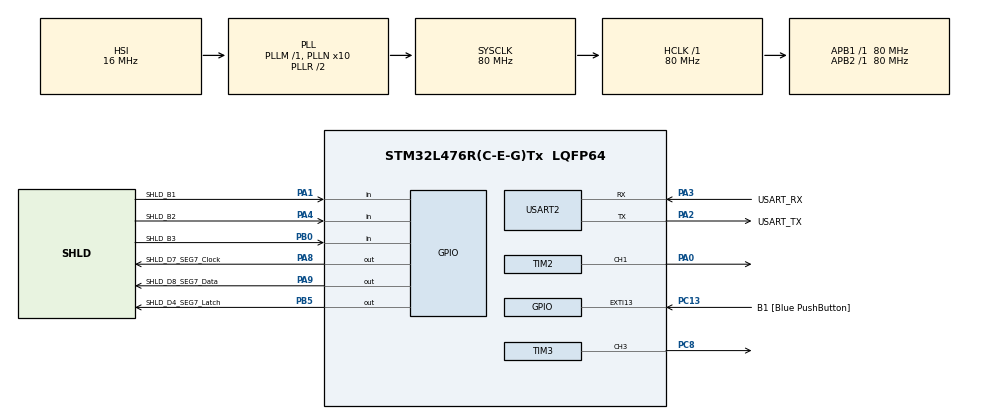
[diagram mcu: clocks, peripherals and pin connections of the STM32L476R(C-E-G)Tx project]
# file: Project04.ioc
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FREERTOS.Tasks01=defaultTask,24,128,StartDefaultTask,Default,NULL,Dynamic,NULL,NULL;lead_servo,40,128,lead_servo_task,As external,&servo01,Dynamic,NULL,NULL;user_servo,40,128,user_servo_task,As external,&servo02,Dynamic,NULL,NULL;gamemaster,40,128,gamemaster_task,As external,&gamemaster,Dynamic,NULL,NULL
FREERTOS.configTOTAL_HEAP_SIZE=10000
FREERTOS.configUSE_NEWLIB_REENTRANT=1
Mcu.Family=STM32L4
Mcu.Name=STM32L476R(C-E-G)Tx
Mcu.Package=LQFP64
NVIC.PriorityGroup=NVIC_PRIORITYGROUP_4
NVIC.TIM6_DAC_IRQn=true\:15\:0\:false\:false\:true\:false\:false\:true\:true
NVIC.TimeBase=TIM6_DAC_IRQn
NVIC.TimeBaseIP=TIM6
PA0.Signal=S_TIM2_CH1
PA1.GPIO_Label=SHLD_B1
PA1.GPIO_PuPd=GPIO_PULLUP
PA1.Signal=GPIO_Input
PA13\ (JTMS-SWDIO).GPIO_Label=TMS
PA13\ (JTMS-SWDIO).Mode=Serial_Wire
PA13\ (JTMS-SWDIO).Signal=SYS_JTMS-SWDIO
PA14\ (JTCK-SWCLK).GPIO_Label=TCK
PA14\ (JTCK-SWCLK).Mode=Serial_Wire
PA14\ (JTCK-SWCLK).Signal=SYS_JTCK-SWCLK
PA2.GPIO_Label=USART_TX
PA2.GPIO_Mode=GPIO_MODE_AF_PP
PA2.GPIO_PuPd=GPIO_NOPULL
PA2.GPIO_Speed=GPIO_SPEED_FREQ_VERY_HIGH
PA2.Mode=Asynchronous
PA2.Signal=USART2_TX
PA3.GPIO_Label=USART_RX
PA3.GPIO_Mode=GPIO_MODE_AF_PP
PA3.GPIO_PuPd=GPIO_NOPULL
PA3.GPIO_Speed=GPIO_SPEED_FREQ_VERY_HIGH
PA3.Mode=Asynchronous
PA3.Signal=USART2_RX
PA4.GPIO_Label=SHLD_B2
PA4.GPIO_PuPd=GPIO_PULLUP
PA4.Signal=GPIO_Input
PA8.GPIO_Label=SHLD_D7_SEG7_Clock
PA8.PinState=GPIO_PIN_SET
PA8.Signal=GPIO_Output
PA9.GPIO_Label=SHLD_D8_SEG7_Data
PA9.GPIO_Speed=GPIO_SPEED_FREQ_MEDIUM
PA9.PinState=GPIO_PIN_SET
PA9.Signal=GPIO_Output
PB0.GPIO_Label=SHLD_B3
PB0.GPIO_PuPd=GPIO_PULLUP
PB0.Signal=GPIO_Input
PB3\ (JTDO-TRACESWO).GPIO_Label=SWO
PB3\ (JTDO-TRACESWO).Signal=SYS_JTDO-SWO
PB5.GPIO_Label=SHLD_D4_SEG7_Latch
PB5.GPIO_Speed=GPIO_SPEED_FREQ_HIGH
PB5.PinState=GPIO_PIN_SET
PB5.Signal=GPIO_Output
PC13.GPIO_Label=B1 [Blue PushButton]
PC13.GPIO_ModeDefaultEXTI=GPIO_MODE_IT_FALLING
PC13.GPIO_PuPd=GPIO_NOPULL
PC13.Signal=GPXTI13
PC14-OSC32_IN\ (PC14).Mode=LSE-External-Oscillator
PC14-OSC32_IN\ (PC14).Signal=RCC_OSC32_IN
PC15-OSC32_OUT\ (PC15).Mode=LSE-External-Oscillator
PC15-OSC32_OUT\ (PC15).Signal=RCC_OSC32_OUT
PC8.Signal=S_TIM3_CH3
PH0-OSC_IN\ (PH0).Signal=RCC_OSC_IN
PH1-OSC_OUT\ (PH1).Signal=RCC_OSC_OUT
ProjectManager.HeapSize=0x200
ProjectManager.StackSize=0x400
ProjectManager.TargetToolchain=STM32CubeIDE
RCC.ADCFreq_Value=64000000
RCC.AHBFreq_Value=80000000
RCC.APB1Freq_Value=80000000
RCC.APB1TimFreq_Value=80000000
RCC.APB2Freq_Value=80000000
RCC.APB2TimFreq_Value=80000000
RCC.CortexFreq_Value=80000000
RCC.HCLKFreq_Value=80000000
RCC.HSE_VALUE=8000000
RCC.HSI_VALUE=16000000
RCC.MSI_VALUE=4000000
RCC.PLLN=10
RCC.PLLSAI1Q=RCC_PLLQ_DIV4
RCC.PLLSourceVirtual=RCC_PLLSOURCE_HSI
RCC.PREFETCH_ENABLE=1
RCC.SYSCLKFreq_VALUE=80000000
RCC.SYSCLKSource=RCC_SYSCLKSOURCE_PLLCLK
RCC.USBFreq_Value=32000000
RCC.VCOOutputFreq_Value=160000000
SH.S_TIM2_CH1.0=TIM2_CH1,PWM Generation1 CH1
SH.S_TIM3_CH3.0=TIM3_CH3,PWM Generation3 CH3
TIM2.Channel-PWM\ Generation1\ CH1=TIM_CHANNEL_1
TIM2.Period=19999
TIM2.Prescaler=79
TIM3.Channel-PWM\ Generation3\ CH3=TIM_CHANNEL_3
TIM3.Period=19999
TIM3.Prescaler=79
TIM5.Prescaler=79
USART2.VirtualMode-Asynchronous=VM_ASYNC
VP_FREERTOS_VS_CMSIS_V2.Mode=CMSIS_V2
VP_RNG_VS_RNG.Mode=RNG_Activate
VP_SYS_VS_tim6.Mode=TIM6
VP_TIM2_VS_ClockSourceINT.Mode=Internal
VP_TIM3_VS_ClockSourceINT.Mode=Internal
VP_TIM5_VS_ClockSourceINT.Mode=Internal
board=NUCLEO-L476RG

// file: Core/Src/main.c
/* USER CODE BEGIN Header */
/**
  ******************************************************************************
  * @file           : main.c
  * @brief          : Main program body
  ******************************************************************************
  * @attention
  *
  * Copyright (c) 2022 STMicroelectronics.
  * All rights reserved.
  *
  * This software is licensed under terms that can be found in the LICENSE file
  * in the root directory of this software component.
  * If no LICENSE file comes with this software, it is provided AS-IS.
  *
  ******************************************************************************
  */
/* USER CODE END Header */
#include "main.h"
#include "cmsis_os.h"

/* USER CODE BEGIN Includes */
#include "servo.h"
#include "gamemaster.h"
/* USER CODE END Includes */

RNG_HandleTypeDef hrng;

TIM_HandleTypeDef htim2;
TIM_HandleTypeDef htim3;
TIM_HandleTypeDef htim5;

UART_HandleTypeDef huart2;

/* Definitions for defaultTask */
osThreadId_t defaultTaskHandle;
const osThreadAttr_t defaultTask_attributes = {
  .name = "defaultTask",
  .stack_size = 128 * 4,
  .priority = (osPriority_t) osPriorityNormal,
};
/* Definitions for lead_servo */
osThreadId_t lead_servoHandle;
const osThreadAttr_t lead_servo_attributes = {
  .name = "lead_servo",
  .stack_size = 128 * 4,
  .priority = (osPriority_t) osPriorityHigh,
};
/* Definitions for user_servo */
osThreadId_t user_servoHandle;
const osThreadAttr_t user_servo_attributes = {
  .name = "user_servo",
  .stack_size = 128 * 4,
  .priority = (osPriority_t) osPriorityHigh,
};
/* Definitions for gamemaster */
osThreadId_t gamemasterHandle;
const osThreadAttr_t gamemaster_attributes = {
  .name = "gamemaster",
  .stack_size = 128 * 4,
  .priority = (osPriority_t) osPriorityHigh,
};
/* USER CODE BEGIN PV */

static servo_profile_t servo01 = {
		.last_position = 0,
		.position = 0,
		.move_wait = 0,
		.next_wait = 0,
		.start_time = 0,
		.status = in_position,
		.rounds = 0
};
static servo_profile_t servo02 = {
		.last_position = 0,
		.position = 0,
		.move_wait = 0,
		.next_wait = 0,
		.start_time = 0,
		.status = in_position,
		.rounds = 0
};

static gamemaster_t gamemaster = {
		.servo01 = &servo01,
		.servo02 = &servo02,
		.total_time = 0,
		.start_time = 0,
		.end_time = 0,
		.D4_SEG7_Latch_Port = SHLD_D4_SEG7_Latch_GPIO_Port,
		.D4_SEG7_Latch_Pin = SHLD_D4_SEG7_Latch_Pin,
		.D7_SEG7_Clock_Port = SHLD_D7_SEG7_Clock_GPIO_Port,
		.D7_SEG7_Clock_Pin = SHLD_D7_SEG7_Clock_Pin,
		.D8_SEG7_Data_Port = SHLD_D8_SEG7_Data_GPIO_Port,
		.D8_SEG7_Data_Pin = SHLD_D8_SEG7_Data_Pin
};

/* USER CODE END PV */

void SystemClock_Config(void);
static void MX_GPIO_Init(void);
static void MX_USART2_UART_Init(void);
static void MX_TIM2_Init(void);
static void MX_TIM3_Init(void);
static void MX_TIM5_Init(void);
static void MX_RNG_Init(void);
void StartDefaultTask(void *argument);
extern void lead_servo_task(void *argument);
extern void user_servo_task(void *argument);
extern void gamemaster_task(void *argument);

int main(void)
{

  /* MCU Configuration--------------------------------------------------------*/

  /* Reset of all peripherals, Initializes the Flash interface and the Systick. */
  HAL_Init();

  /* Configure the system clock */
  SystemClock_Config();

  /* Initialize all configured peripherals */
  MX_GPIO_Init();
  MX_USART2_UART_Init();
  MX_TIM2_Init();
  MX_TIM3_Init();
  MX_TIM5_Init();
  MX_RNG_Init();

  /* Init scheduler */
  osKernelInitialize();

  /* Create the thread(s) */
  /* creation of defaultTask */
  defaultTaskHandle = osThreadNew(StartDefaultTask, NULL, &defaultTask_attributes);

  /* creation of lead_servo */
  lead_servoHandle = osThreadNew(lead_servo_task, (void*) &servo01, &lead_servo_attributes);

  /* creation of user_servo */
  user_servoHandle = osThreadNew(user_servo_task, (void*) &servo02, &user_servo_attributes);

  /* creation of gamemaster */
  gamemasterHandle = osThreadNew(gamemaster_task, (void*) &gamemaster, &gamemaster_attributes);

  /* USER CODE BEGIN RTOS_EVENTS */
  // USED TO FIX WARNINGS LOL
  position0=position0;
  position1=position1;
  position2=position2;
  position3=position3;
  position4=position4;
  position5=position5;
  /* add events, ... */
  calibrate_servo();
  // Clear the seven segment display
  clear_seg7(&gamemaster);
  /* USER CODE END RTOS_EVENTS */

  /* Start scheduler */
  osKernelStart();

  /* We should never get here as control is now taken by the scheduler */
  /* Infinite loop */
  while (1)
  {

  }
}

void SystemClock_Config(void)
{
  RCC_OscInitTypeDef RCC_OscInitStruct = {0};
  RCC_ClkInitTypeDef RCC_ClkInitStruct = {0};

  /** Configure the main internal regulator output voltage
  */
  if (HAL_PWREx_ControlVoltageScaling(PWR_REGULATOR_VOLTAGE_SCALE1) != HAL_OK)
  {
    Error_Handler();
  }

  /** Initializes the RCC Oscillators according to the specified parameters
  * in the RCC_OscInitTypeDef structure.
  */
  RCC_OscInitStruct.OscillatorType = RCC_OSCILLATORTYPE_HSI;
  RCC_OscInitStruct.HSIState = RCC_HSI_ON;
  RCC_OscInitStruct.HSICalibrationValue = RCC_HSICALIBRATION_DEFAULT;
  RCC_OscInitStruct.PLL.PLLState = RCC_PLL_ON;
  RCC_OscInitStruct.PLL.PLLSource = RCC_PLLSOURCE_HSI;
  RCC_OscInitStruct.PLL.PLLM = 1;
  RCC_OscInitStruct.PLL.PLLN = 10;
  RCC_OscInitStruct.PLL.PLLP = RCC_PLLP_DIV7;
  RCC_OscInitStruct.PLL.PLLQ = RCC_PLLQ_DIV2;
  RCC_OscInitStruct.PLL.PLLR = RCC_PLLR_DIV2;
  if (HAL_RCC_OscConfig(&RCC_OscInitStruct) != HAL_OK)
  {
    Error_Handler();
  }

  /** Initializes the CPU, AHB and APB buses clocks
  */
  RCC_ClkInitStruct.ClockType = RCC_CLOCKTYPE_HCLK|RCC_CLOCKTYPE_SYSCLK
                              |RCC_CLOCKTYPE_PCLK1|RCC_CLOCKTYPE_PCLK2;
  RCC_ClkInitStruct.SYSCLKSource = RCC_SYSCLKSOURCE_PLLCLK;
  RCC_ClkInitStruct.AHBCLKDivider = RCC_SYSCLK_DIV1;
  RCC_ClkInitStruct.APB1CLKDivider = RCC_HCLK_DIV1;
  RCC_ClkInitStruct.APB2CLKDivider = RCC_HCLK_DIV1;

  if (HAL_RCC_ClockConfig(&RCC_ClkInitStruct, FLASH_LATENCY_4) != HAL_OK)
  {
    Error_Handler();
  }
}

static void MX_RNG_Init(void)
{

  hrng.Instance = RNG;
  if (HAL_RNG_Init(&hrng) != HAL_OK)
  {
    Error_Handler();
  }

}

static void MX_TIM2_Init(void)
{

  TIM_ClockConfigTypeDef sClockSourceConfig = {0};
  TIM_MasterConfigTypeDef sMasterConfig = {0};
  TIM_OC_InitTypeDef sConfigOC = {0};

  htim2.Instance = TIM2;
  htim2.Init.Prescaler = 79;
  htim2.Init.CounterMode = TIM_COUNTERMODE_UP;
  htim2.Init.Period = 19999;
  htim2.Init.ClockDivision = TIM_CLOCKDIVISION_DIV1;
  htim2.Init.AutoReloadPreload = TIM_AUTORELOAD_PRELOAD_DISABLE;
  if (HAL_TIM_Base_Init(&htim2) != HAL_OK)
  {
    Error_Handler();
  }
  sClockSourceConfig.ClockSource = TIM_CLOCKSOURCE_INTERNAL;
  if (HAL_TIM_ConfigClockSource(&htim2, &sClockSourceConfig) != HAL_OK)
  {
    Error_Handler();
  }
  if (HAL_TIM_PWM_Init(&htim2) != HAL_OK)
  {
    Error_Handler();
  }
  sMasterConfig.MasterOutputTrigger = TIM_TRGO_RESET;
  sMasterConfig.MasterSlaveMode = TIM_MASTERSLAVEMODE_DISABLE;
  if (HAL_TIMEx_MasterConfigSynchronization(&htim2, &sMasterConfig) != HAL_OK)
  {
    Error_Handler();
  }
  sConfigOC.OCMode = TIM_OCMODE_PWM1;
  sConfigOC.Pulse = 0;
  sConfigOC.OCPolarity = TIM_OCPOLARITY_HIGH;
  sConfigOC.OCFastMode = TIM_OCFAST_DISABLE;
  if (HAL_TIM_PWM_ConfigChannel(&htim2, &sConfigOC, TIM_CHANNEL_1) != HAL_OK)
  {
    Error_Handler();
  }
  /* USER CODE BEGIN TIM2_Init 2 */
  HAL_TIM_Base_Start(&htim2);
  HAL_TIM_IC_Start(&htim2, TIM_CHANNEL_1);
  /* USER CODE END TIM2_Init 2 */
  HAL_TIM_MspPostInit(&htim2);

}

static void MX_TIM3_Init(void)
{

  TIM_ClockConfigTypeDef sClockSourceConfig = {0};
  TIM_MasterConfigTypeDef sMasterConfig = {0};
  TIM_OC_InitTypeDef sConfigOC = {0};

  htim3.Instance = TIM3;
  htim3.Init.Prescaler = 79;
  htim3.Init.CounterMode = TIM_COUNTERMODE_UP;
  htim3.Init.Period = 19999;
  htim3.Init.ClockDivision = TIM_CLOCKDIVISION_DIV1;
  htim3.Init.AutoReloadPreload = TIM_AUTORELOAD_PRELOAD_DISABLE;
  if (HAL_TIM_Base_Init(&htim3) != HAL_OK)
  {
    Error_Handler();
  }
  sClockSourceConfig.ClockSource = TIM_CLOCKSOURCE_INTERNAL;
  if (HAL_TIM_ConfigClockSource(&htim3, &sClockSourceConfig) != HAL_OK)
  {
    Error_Handler();
  }
  if (HAL_TIM_PWM_Init(&htim3) != HAL_OK)
  {
    Error_Handler();
  }
  sMasterConfig.MasterOutputTrigger = TIM_TRGO_RESET;
  sMasterConfig.MasterSlaveMode = TIM_MASTERSLAVEMODE_DISABLE;
  if (HAL_TIMEx_MasterConfigSynchronization(&htim3, &sMasterConfig) != HAL_OK)
  {
    Error_Handler();
  }
  sConfigOC.OCMode = TIM_OCMODE_PWM1;
  sConfigOC.Pulse = 0;
  sConfigOC.OCPolarity = TIM_OCPOLARITY_HIGH;
  sConfigOC.OCFastMode = TIM_OCFAST_DISABLE;
  if (HAL_TIM_PWM_ConfigChannel(&htim3, &sConfigOC, TIM_CHANNEL_3) != HAL_OK)
  {
    Error_Handler();
  }
  /* USER CODE BEGIN TIM3_Init 2 */
  HAL_TIM_Base_Start(&htim3);
  HAL_TIM_IC_Start(&htim3, TIM_CHANNEL_3);
  /* USER CODE END TIM3_Init 2 */
  HAL_TIM_MspPostInit(&htim3);

}

static void MX_TIM5_Init(void)
{

  TIM_ClockConfigTypeDef sClockSourceConfig = {0};
  TIM_MasterConfigTypeDef sMasterConfig = {0};

  htim5.Instance = TIM5;
  htim5.Init.Prescaler = 79;
  htim5.Init.CounterMode = TIM_COUNTERMODE_UP;
  htim5.Init.Period = 4294967295;
  htim5.Init.ClockDivision = TIM_CLOCKDIVISION_DIV1;
  htim5.Init.AutoReloadPreload = TIM_AUTORELOAD_PRELOAD_DISABLE;
  if (HAL_TIM_Base_Init(&htim5) != HAL_OK)
  {
    Error_Handler();
  }
  sClockSourceConfig.ClockSource = TIM_CLOCKSOURCE_INTERNAL;
  if (HAL_TIM_ConfigClockSource(&htim5, &sClockSourceConfig) != HAL_OK)
  {
    Error_Handler();
  }
  sMasterConfig.MasterOutputTrigger = TIM_TRGO_RESET;
  sMasterConfig.MasterSlaveMode = TIM_MASTERSLAVEMODE_DISABLE;
  if (HAL_TIMEx_MasterConfigSynchronization(&htim5, &sMasterConfig) != HAL_OK)
  {
    Error_Handler();
  }
  /* USER CODE BEGIN TIM5_Init 2 */
  HAL_TIM_Base_Start(&htim5);
  /* USER CODE END TIM5_Init 2 */

}

static void MX_USART2_UART_Init(void)
{

  huart2.Instance = USART2;
  huart2.Init.BaudRate = 115200;
  huart2.Init.WordLength = UART_WORDLENGTH_8B;
  huart2.Init.StopBits = UART_STOPBITS_1;
  huart2.Init.Parity = UART_PARITY_NONE;
  huart2.Init.Mode = UART_MODE_TX_RX;
  huart2.Init.HwFlowCtl = UART_HWCONTROL_NONE;
  huart2.Init.OverSampling = UART_OVERSAMPLING_16;
  huart2.Init.OneBitSampling = UART_ONE_BIT_SAMPLE_DISABLE;
  huart2.AdvancedInit.AdvFeatureInit = UART_ADVFEATURE_NO_INIT;
  if (HAL_UART_Init(&huart2) != HAL_OK)
  {
    Error_Handler();
  }

}

static void MX_GPIO_Init(void)
{
  GPIO_InitTypeDef GPIO_InitStruct = {0};

  /* GPIO Ports Clock Enable */
  __HAL_RCC_GPIOC_CLK_ENABLE();
  __HAL_RCC_GPIOH_CLK_ENABLE();
  __HAL_RCC_GPIOA_CLK_ENABLE();
  __HAL_RCC_GPIOB_CLK_ENABLE();

  /*Configure GPIO pin Output Level */
  HAL_GPIO_WritePin(GPIOA, SHLD_D7_SEG7_Clock_Pin|SHLD_D8_SEG7_Data_Pin, GPIO_PIN_SET);

  /*Configure GPIO pin Output Level */
  HAL_GPIO_WritePin(SHLD_D4_SEG7_Latch_GPIO_Port, SHLD_D4_SEG7_Latch_Pin, GPIO_PIN_SET);

  /*Configure GPIO pin : B1_Pin */
  GPIO_InitStruct.Pin = B1_Pin;
  GPIO_InitStruct.Mode = GPIO_MODE_IT_FALLING;
  GPIO_InitStruct.Pull = GPIO_NOPULL;
  HAL_GPIO_Init(B1_GPIO_Port, &GPIO_InitStruct);

  /*Configure GPIO pins : SHLD_B1_Pin SHLD_B2_Pin */
  GPIO_InitStruct.Pin = SHLD_B1_Pin|SHLD_B2_Pin;
  GPIO_InitStruct.Mode = GPIO_MODE_INPUT;
  GPIO_InitStruct.Pull = GPIO_PULLUP;
  HAL_GPIO_Init(GPIOA, &GPIO_InitStruct);

  /*Configure GPIO pin : SHLD_B3_Pin */
  GPIO_InitStruct.Pin = SHLD_B3_Pin;
  GPIO_InitStruct.Mode = GPIO_MODE_INPUT;
  GPIO_InitStruct.Pull = GPIO_PULLUP;
  HAL_GPIO_Init(SHLD_B3_GPIO_Port, &GPIO_InitStruct);

  /*Configure GPIO pin : SHLD_D7_SEG7_Clock_Pin */
  GPIO_InitStruct.Pin = SHLD_D7_SEG7_Clock_Pin;
  GPIO_InitStruct.Mode = GPIO_MODE_OUTPUT_PP;
  GPIO_InitStruct.Pull = GPIO_NOPULL;
  GPIO_InitStruct.Speed = GPIO_SPEED_FREQ_LOW;
  HAL_GPIO_Init(SHLD_D7_SEG7_Clock_GPIO_Port, &GPIO_InitStruct);

  /*Configure GPIO pin : SHLD_D8_SEG7_Data_Pin */
  GPIO_InitStruct.Pin = SHLD_D8_SEG7_Data_Pin;
  GPIO_InitStruct.Mode = GPIO_MODE_OUTPUT_PP;
  GPIO_InitStruct.Pull = GPIO_NOPULL;
  GPIO_InitStruct.Speed = GPIO_SPEED_FREQ_MEDIUM;
  HAL_GPIO_Init(SHLD_D8_SEG7_Data_GPIO_Port, &GPIO_InitStruct);

  /*Configure GPIO pin : SHLD_D4_SEG7_Latch_Pin */
  GPIO_InitStruct.Pin = SHLD_D4_SEG7_Latch_Pin;
  GPIO_InitStruct.Mode = GPIO_MODE_OUTPUT_PP;
  GPIO_InitStruct.Pull = GPIO_NOPULL;
  GPIO_InitStruct.Speed = GPIO_SPEED_FREQ_HIGH;
  HAL_GPIO_Init(SHLD_D4_SEG7_Latch_GPIO_Port, &GPIO_InitStruct);

}

void StartDefaultTask(void *argument)
{
  for(;;)
  {
    osDelay(1);
  }
}

void HAL_TIM_PeriodElapsedCallback(TIM_HandleTypeDef *htim)
{
  if (htim->Instance == TIM6) {
    HAL_IncTick();
  }
}

void Error_Handler(void)
{
  __disable_irq();
  while (1)
  {
  }
}
